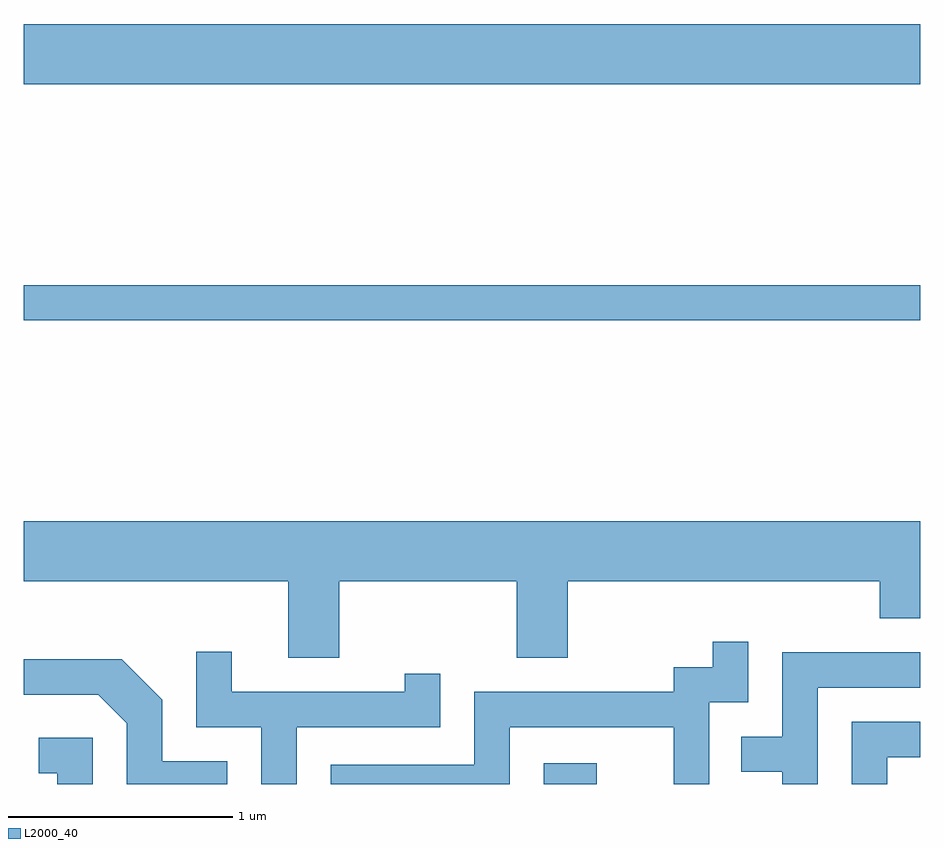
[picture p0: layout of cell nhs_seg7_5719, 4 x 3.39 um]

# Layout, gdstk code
import gdstk
lib = gdstk.Library(unit=1e-6, precision=1e-09)
def R(c, l, rs):  # rectangles x0, y0, x1, y1
    for r in rs: c.add(gdstk.rectangle(r[:2], r[2:], *l))
def P(c, l, *ps):  # polygons
    for p in ps: c.add(gdstk.Polygon(p, *l))
L2000_40 = (2000, 40)

nhs_seg7_5719 = lib.new_cell('nhs_seg7_5719')
R(nhs_seg7_5719, L2000_40, [(361.931,1762.252,362.168,1762.344), (359.611,1764.321,363.611,1764.479), (359.611,1765.376,363.611,1765.644)])
P(nhs_seg7_5719, L2000_40, [(361.019,1763.156),(361.811,1763.156),(361.811,1762.816),(362.039,1762.816),(362.039,1763.156),(363.431,1763.156),(363.431,1762.991),(363.611,1762.991),(363.611,1763.424),(359.611,1763.424),(359.611,1763.156),(360.791,1763.156),(360.791,1762.816),(361.019,1762.816)],
  [(361.779,1762.506),(362.511,1762.506),(362.511,1762.252),(362.669,1762.252),(362.669,1762.616),(362.844,1762.616),(362.844,1762.888),(362.686,1762.888),(362.686,1762.774),(362.511,1762.774),(362.511,1762.664),(361.621,1762.664),(361.621,1762.339),(360.981,1762.339),(360.981,1762.252),(361.779,1762.252)],
  [(360.829,1762.506),(361.469,1762.506),(361.469,1762.743),(361.311,1762.743),(361.311,1762.664),(360.539,1762.664),(360.539,1762.843),(360.381,1762.843),(360.381,1762.506),(360.671,1762.506),(360.671,1762.252),(360.829,1762.252)],
  [(363.154,1762.681),(363.611,1762.681),(363.611,1762.839),(362.996,1762.839),(362.996,1762.464),(362.813,1762.464),(362.813,1762.306),(362.996,1762.306),(362.996,1762.252),(363.154,1762.252)],
  [(360.519,1762.354),(360.229,1762.354),(360.229,1762.627),(360.047,1762.809),(359.611,1762.809),(359.611,1762.651),(359.944,1762.651),(360.071,1762.524),(360.071,1762.252),(360.519,1762.252)],
  [(363.464,1762.371),(363.611,1762.371),(363.611,1762.529),(363.306,1762.529),(363.306,1762.252),(363.464,1762.252)],
  [(359.919,1762.459),(359.678,1762.459),(359.678,1762.301),(359.761,1762.301),(359.761,1762.252),(359.919,1762.252)])

lib.write_gds('nhs_seg7_5719.gds')
